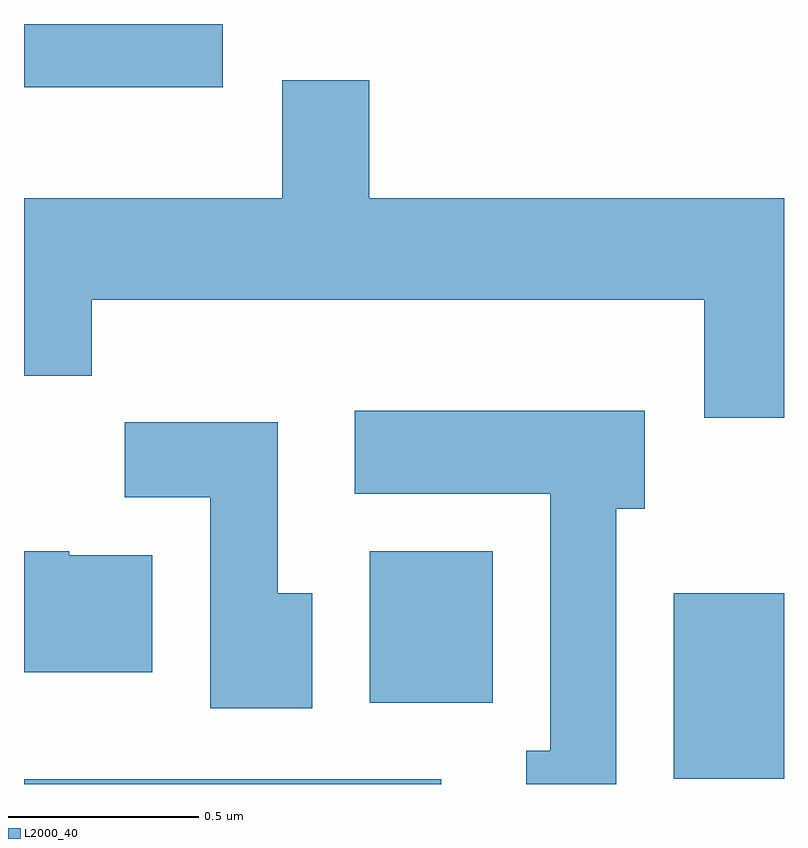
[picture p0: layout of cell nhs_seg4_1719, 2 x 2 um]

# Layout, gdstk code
import gdstk
lib = gdstk.Library(unit=1e-6, precision=1e-09)
def R(c, l, rs):  # rectangles x0, y0, x1, y1
    for r in rs: c.add(gdstk.rectangle(r[:2], r[2:], *l))
def P(c, l, *ps):  # polygons
    for p in ps: c.add(gdstk.Polygon(p, *l))
L2000_40 = (2000, 40)

nhs_seg4_1719 = lib.new_cell('nhs_seg4_1719')
R(nhs_seg4_1719, L2000_40, [(197.611,1328.982,198.709,1328.994), (199.321,1328.996,199.611,1329.484), (198.521,1329.196,198.844,1329.594), (197.611,1330.816,198.134,1330.982)])
P(nhs_seg4_1719, L2000_40, [(199.611,1330.524),(198.519,1330.524),(198.519,1330.834),(198.291,1330.834),(198.291,1330.524),(197.611,1330.524),(197.611,1330.056),(197.789,1330.056),(197.789,1330.256),(199.401,1330.256),(199.401,1329.946),(199.611,1329.946)],
  [(199.169,1329.706),(199.244,1329.706),(199.244,1329.964),(198.481,1329.964),(198.481,1329.746),(198.996,1329.746),(198.996,1329.069),(198.933,1329.069),(198.933,1328.982),(199.169,1328.982)],
  [(198.369,1329.484),(198.279,1329.484),(198.279,1329.934),(197.876,1329.934),(197.876,1329.736),(198.101,1329.736),(198.101,1329.181),(198.369,1329.181)],
  [(197.949,1329.584),(197.73,1329.584),(197.73,1329.594),(197.611,1329.594),(197.611,1329.276),(197.949,1329.276)])

lib.write_gds('nhs_seg4_1719.gds')
